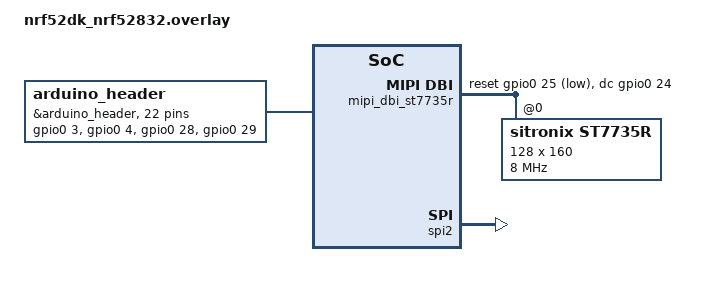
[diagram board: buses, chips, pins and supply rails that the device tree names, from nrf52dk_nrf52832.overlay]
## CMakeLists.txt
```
# SPDX-License-Identifier: Apache-2.0

cmake_minimum_required(VERSION 3.20.0)

find_package(Zephyr REQUIRED HINTS $ENV{ZEPHYR_BASE})
project(52832_driver)

target_sources(app PRIVATE src/main.c)
```

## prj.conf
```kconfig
CONFIG_LOG=y
CONFIG_CONSOLE=y
CONFIG_USE_SEGGER_RTT=y
CONFIG_LOG_BACKEND_RTT=y
CONFIG_RTT_CONSOLE=y
CONFIG_LOG_BACKEND_RTT_BUFFER=1
# Shell (required by CONFIG_I2C_SHELL)
CONFIG_SHELL=y
CONFIG_SHELL_BACKEND_RTT=y
CONFIG_SHELL_BACKEND_RTT_BUFFER=0
# I2C & sensor support
CONFIG_I2C=y
CONFIG_I2C_TARGET=y
CONFIG_I2C_SHELL=y
CONFIG_I2C_NRFX=y
# CONFIG_I2C_LOG_LEVEL_DBG=y
# CONFIG_I2C_DUMP_MESSAGES=y

# CONFIG_I2C_ALLOW_NO_STOP_TRANSACTIONS=y
CONFIG_SENSOR=y
CONFIG_MPU6050=y
CONFIG_MPU6050_TRIGGER_NONE=y
# 显示驱动（ST7735S 走 ST7735R 驱动）
CONFIG_SPI=y
CONFIG_DISPLAY=y
# CONFIG_DT_HAS_SITRONIX_ST7735R_ENABLED=y
CONFIG_ST7735R=y
CONFIG_MIPI_DBI=y
```

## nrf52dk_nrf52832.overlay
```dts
// To get started, press Ctrl+Space to bring up the completion menu and view the available nodes.

// You can also use the buttons in the sidebar to perform actions on nodes.
// Actions currently available include:

// * Enabling / disabling the node
// * Adding the bus to a bus
// * Removing the node
// * Connecting ADC channels

// For more help, browse the DeviceTree documentation at https://docs.zephyrproject.org/latest/guides/dts/index.html
// You can also visit the nRF DeviceTree extension documentation at https://docs.nordicsemi.com/bundle/nrf-connect-vscode/page/guides/ncs_configure_app.html#devicetree-support-in-the-extension
#if 0
&i2c0 {
	clock-frequency = <I2C_BITRATE_STANDARD>;

	mpu6050: mpu6050@68 {
		compatible = "invensense,mpu6050";
		reg = <0x68>;
		int-gpios = <&gpio0 26 GPIO_ACTIVE_HIGH>;
		accel-fs = <2>;
		gyro-fs = <250>;
		smplrt-div = <0>;

		zephyr,deferred-init;
	};
};
&i2c0_default {
	group1 {
		psels = <NRF_PSEL(TWIM_SCL, 0, 22)>, <NRF_PSEL(TWIM_SDA, 0, 23)>;
	};
};
&i2c0_sleep {
	group1 {
		psels = <NRF_PSEL(TWIM_SCL, 0, 22)>, <NRF_PSEL(TWIM_SDA, 0, 23)>;
		low-power-enable;
	};
};
#else
/delete-node/ &{/pin-controller/i2c0_sleep/group1/};
/delete-node/ &{/pin-controller/i2c0_default/group1/};
#endif

&spi2 {
	status = "okay";
	cs-gpios = <&gpio0 26 GPIO_ACTIVE_LOW>;
	pinctrl-0 = <&spi2_default>;
	pinctrl-1 = <&spi2_sleep>;
	pinctrl-names = "default", "sleep";
};

/ {
	chosen {
		zephyr,display = &st7735r;
	};

	mipi_dbi_st7735r {
		compatible = "zephyr,mipi-dbi-spi";
		spi-dev = <&spi2>;
		dc-gpios = <&gpio0 24 GPIO_ACTIVE_HIGH>;   /* 按实际接线修改 */
		reset-gpios = <&gpio0 25 GPIO_ACTIVE_LOW>; /* 按实际接线修改 */
		write-only;
		#address-cells = <1>;
		#size-cells = <0>;

		st7735r: st7735r@0 {
			compatible = "sitronix,st7735r";
			reg = <0>;
			status = "okay";
			mipi-max-frequency = <8000000>;
			mipi-mode = "MIPI_DBI_MODE_SPI_4WIRE";
			colmod = <0x55>; /* RGB565 */

			/* Required by binding */
			width = <128>;
			height = <160>;
			x-offset = <0>;
			y-offset = <0>;
			gamctrp1 = [0f 1a 0f 18 2f 28 20 22 1f 1b 23 37 00 07 02 10];
			gamctrn1 = [0f 1b 0f 17 33 2c 29 2e 30 30 39 3f 00 07 03 10];

			/* Explicitly define these to satisfy compile-time DT access */
			caset = [00 00 00 7f];
			raset = [00 00 00 9f];
		};
	};
};

&spi2_default {
	group1 {
		psels = <NRF_PSEL(SPIM_SCK, 0, 22)>, <NRF_PSEL(SPIM_MOSI, 0, 23)>;
	};
};

&spi2_sleep {
	group1 {
		psels = <NRF_PSEL(SPIM_SCK, 0, 22)>, <NRF_PSEL(SPIM_MOSI, 0, 23)>;
		low-power-enable;
	};
};

&arduino_adc {
	io-channel-map = <0 &adc 1>, <1 &adc 2>, <2 &adc 4>, <3 &adc 5>, <4 &adc 6>, <5 &adc 7>;
};

&arduino_header {
	gpio-map = <ARDUINO_HEADER_R3_A0 0 &gpio0 3 0>,
			   <ARDUINO_HEADER_R3_A1 0 &gpio0 4 0>,
			   <ARDUINO_HEADER_R3_A2 0 &gpio0 28 0>,
			   <ARDUINO_HEADER_R3_A3 0 &gpio0 29 0>,
			   <ARDUINO_HEADER_R3_A4 0 &gpio0 30 0>,
			   <ARDUINO_HEADER_R3_A5 0 &gpio0 31 0>,
			   <ARDUINO_HEADER_R3_D0 0 &gpio0 11 0>,
			   <ARDUINO_HEADER_R3_D1 0 &gpio0 12 0>,
			   <ARDUINO_HEADER_R3_D2 0 &gpio0 13 0>,
			   <ARDUINO_HEADER_R3_D3 0 &gpio0 14 0>,
			   <ARDUINO_HEADER_R3_D4 0 &gpio0 15 0>,
			   <ARDUINO_HEADER_R3_D5 0 &gpio0 16 0>,
			   <ARDUINO_HEADER_R3_D6 0 &gpio0 17 0>,
			   <ARDUINO_HEADER_R3_D7 0 &gpio0 18 0>,
			   <ARDUINO_HEADER_R3_D8 0 &gpio0 19 0>,
			   <ARDUINO_HEADER_R3_D9 0 &gpio0 20 0>,
			   <ARDUINO_HEADER_R3_D10 0 &gpio0 22 0>,
			   <ARDUINO_HEADER_R3_D11 0 &gpio0 23 0>,
			   <ARDUINO_HEADER_R3_D12 0 &gpio0 24 0>,
			   <ARDUINO_HEADER_R3_D13 0 &gpio0 25 0>,
			   <ARDUINO_HEADER_R3_D14 0 &gpio0 26 0>,
			   <ARDUINO_HEADER_R3_D15 0 &gpio0 27 0>;
};
```

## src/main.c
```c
#include <zephyr/kernel.h>
#include <zephyr/drivers/gpio.h>
#include <zephyr/logging/log.h>
#include <zephyr/drivers/uart.h>
#include <zephyr/drivers/i2c.h>
#include <zephyr/drivers/sensor.h>
#include <zephyr/device.h>
#include <zephyr/drivers/display.h>
#include <zephyr/sys/byteorder.h>
#include <errno.h>
#include <strings.h>
/* 定义日志模块 */
LOG_MODULE_REGISTER(main, LOG_LEVEL_INF);
/* 定义LED引脚 */
#define LED1	DT_NODELABEL(led0)
#define LED2	DT_NODELABEL(led1)
#define LED3	DT_NODELABEL(led2)
#define LED4	DT_NODELABEL(led3)
static struct  gpio_dt_spec LED1_struct=GPIO_DT_SPEC_GET(LED1, gpios);
static struct  gpio_dt_spec LED2_struct=GPIO_DT_SPEC_GET(LED2, gpios);
static struct  gpio_dt_spec LED3_struct=GPIO_DT_SPEC_GET(LED3, gpios);
static struct  gpio_dt_spec LED4_struct=GPIO_DT_SPEC_GET(LED4, gpios);
/* 定义按键引脚 */
#define botton1	DT_NODELABEL(button0)
#define botton2	DT_NODELABEL(button1)
#define botton3	DT_NODELABEL(button2)
#define botton4	DT_NODELABEL(button3)
static struct  gpio_dt_spec botton1_struct=GPIO_DT_SPEC_GET(botton1, gpios);
static struct  gpio_dt_spec botton2_struct=GPIO_DT_SPEC_GET(botton2, gpios);
static struct  gpio_dt_spec botton3_struct=GPIO_DT_SPEC_GET(botton3, gpios);
static struct  gpio_dt_spec botton4_struct=GPIO_DT_SPEC_GET(botton4, gpios);
static struct gpio_callback button_callback_struct;

#define LCD_NODE DT_NODELABEL(st7735r)

/* LCD 相关全局结构体，放在 main 之外 */
static const struct device *lcd_dev = DEVICE_DT_GET(LCD_NODE);
static struct display_capabilities lcd_caps;
static struct display_buffer_descriptor lcd_desc;
static uint8_t lcd_line_buf[240 * 2];
static size_t lcd_color_idx;

/* 简单 5x7 字符集，只实现常用字符：空格、0-9、A-Z */
#define LCD_CHAR_W 6
#define LCD_CHAR_H 8

static const uint8_t lcd_font5x7[][5] = {
	/* ' ' 0x20 */
	{ 0x00, 0x00, 0x00, 0x00, 0x00 },
	/* '0' 0x30 */
	{ 0x3E, 0x51, 0x49, 0x45, 0x3E },
	/* '1' */
	{ 0x00, 0x42, 0x7F, 0x40, 0x00 },
	/* '2' */
	{ 0x42, 0x61, 0x51, 0x49, 0x46 },
	/* '3' */
	{ 0x21, 0x41, 0x45, 0x4B, 0x31 },
	/* '4' */
	{ 0x18, 0x14, 0x12, 0x7F, 0x10 },
	/* '5' */
	{ 0x27, 0x45, 0x45, 0x45, 0x39 },
	/* '6' */
	{ 0x3C, 0x4A, 0x49, 0x49, 0x30 },
	/* '7' */
	{ 0x01, 0x71, 0x09, 0x05, 0x03 },
	/* '8' */
	{ 0x36, 0x49, 0x49, 0x49, 0x36 },
	/* '9' */
	{ 0x06, 0x49, 0x49, 0x29, 0x1E },
	/* 'A' 0x41 */
	{ 0x7E, 0x11, 0x11, 0x11, 0x7E },
	/* 'B' */
	{ 0x7F, 0x49, 0x49, 0x49, 0x36 },
	/* 'C' */
	{ 0x3E, 0x41, 0x41, 0x41, 0x22 },
	/* 'D' */
	{ 0x7F, 0x41, 0x41, 0x22, 0x1C },
	/* 'E' */
	{ 0x7F, 0x49, 0x49, 0x49, 0x41 },
	/* 'F' */
	{ 0x7F, 0x09, 0x09, 0x09, 0x01 },
	/* 'G' */
	{ 0x3E, 0x41, 0x49, 0x49, 0x7A },
	/* 'H' */
	{ 0x7F, 0x08, 0x08, 0x08, 0x7F },
	/* 'I' */
	{ 0x00, 0x41, 0x7F, 0x41, 0x00 },
	/* 'J' */
	{ 0x20, 0x40, 0x41, 0x3F, 0x01 },
	/* 'K' */
	{ 0x7F, 0x08, 0x14, 0x22, 0x41 },
	/* 'L' */
	{ 0x7F, 0x40, 0x40, 0x40, 0x40 },
	/* 'M' */
	{ 0x7F, 0x02, 0x0C, 0x02, 0x7F },
	/* 'N' */
	{ 0x7F, 0x04, 0x08, 0x10, 0x7F },
	/* 'O' */
	{ 0x3E, 0x41, 0x41, 0x41, 0x3E },
	/* 'P' */
	{ 0x7F, 0x09, 0x09, 0x09, 0x06 },
	/* 'Q' */
	{ 0x3E, 0x41, 0x51, 0x21, 0x5E },
	/* 'R' */
	{ 0x7F, 0x09, 0x19, 0x29, 0x46 },
	/* 'S' */
	{ 0x46, 0x49, 0x49, 0x49, 0x31 },
	/* 'T' */
	{ 0x01, 0x01, 0x7F, 0x01, 0x01 },
	/* 'U' */
	{ 0x3F, 0x40, 0x40, 0x40, 0x3F },
	/* 'V' */
	{ 0x1F, 0x20, 0x40, 0x20, 0x1F },
	/* 'W' */
	{ 0x7F, 0x20, 0x18, 0x20, 0x7F },
	/* 'X' */
	{ 0x63, 0x14, 0x08, 0x14, 0x63 },
	/* 'Y' */
	{ 0x03, 0x04, 0x78, 0x04, 0x03 },
	/* 'Z' */
	{ 0x61, 0x51, 0x49, 0x45, 0x43 },
};

static const uint16_t lcd_colors[] = {
	0xF800, /* red */
	0x07E0, /* green */
	0x001F, /* blue */
	0xFFFF, /* white */
	0x0000, /* black */
};

static int lcd_init(void)
{
	if (!device_is_ready(lcd_dev)) {
		LOG_ERR("LCD device not ready");
		return -ENODEV;
	}

	int ret = display_set_pixel_format(lcd_dev, PIXEL_FORMAT_RGB_565);
	if (ret != 0) {
		LOG_WRN("display_set_pixel_format failed (%d)", ret);
	}

	ret = display_blanking_off(lcd_dev);
	if (ret != 0) {
		LOG_WRN("display_blanking_off failed (%d)", ret);
	}

	display_get_capabilities(lcd_dev, &lcd_caps);

	const uint16_t w = lcd_caps.x_resolution;

	if (w == 0 || w > 240) {
		LOG_ERR("Unexpected LCD width %u", w);
		return -EINVAL;
	}

	lcd_desc.width = w;
	lcd_desc.height = 1;
	lcd_desc.pitch = w;
	lcd_desc.buf_size = (size_t)w * 2;

	lcd_color_idx = 0;

	return 0;
}

static int lcd_fill_color(uint16_t color)
{
	const uint16_t w = lcd_caps.x_resolution;
	const uint16_t h = lcd_caps.y_resolution;

	if (w == 0 || h == 0) {
		return -EINVAL;
	}

	for (uint16_t x = 0; x < w; x++) {
		sys_put_be16(color, &lcd_line_buf[x * 2]);
	}

	for (uint16_t y = 0; y < h; y++) {
		int ret = display_write(lcd_dev, 0, y, &lcd_desc, lcd_line_buf);
		if (ret != 0) {
			return ret;
		}
	}

	return 0;
}

static const uint8_t *lcd_get_glyph(char c)
{
	if (c == ' ') {
		return lcd_font5x7[0];
	}
	if (c >= '0' && c <= '9') {
		return lcd_font5x7[1 + (c - '0')];
	}
	if (c >= 'A' && c <= 'Z') {
		return lcd_font5x7[11 + (c - 'A')];
	}
	if (c >= 'a' && c <= 'z') {
		return lcd_font5x7[11 + (c - 'a')]; /* 小写按大写显示 */
	}
	return lcd_font5x7[0];
}

/* 在 LCD 上绘制单个字符，左上角坐标 (x, y)，前景色/背景色为 fg/bg */
static int lcd_draw_char(uint16_t x, uint16_t y, char c,
			 uint16_t fg, uint16_t bg)
{
	const uint16_t w = lcd_caps.x_resolution;
	const uint16_t h = lcd_caps.y_resolution;

	if (x + LCD_CHAR_W > w || y + LCD_CHAR_H > h) {
		return -EINVAL;
	}

	const uint8_t *glyph = lcd_get_glyph(c);
	uint8_t buf[LCD_CHAR_W * LCD_CHAR_H * 2];

	for (uint16_t row = 0; row < LCD_CHAR_H; row++) {
		for (uint16_t col = 0; col < 5; col++) {
			/* 字库按列存储，每列低位在上方 */
			uint8_t col_bits = glyph[col];
			bool on = (row < 7) && ((col_bits >> row) & 0x01);
			uint16_t color = on ? fg : bg;
			sys_put_be16(color,
				     &buf[2 * (row * LCD_CHAR_W + col)]);
		}
		/* 第 6 列做 1 像素间隔 */
		sys_put_be16(bg,
			     &buf[2 * (row * LCD_CHAR_W + 5)]);
	}

	struct display_buffer_descriptor desc = {
		.width = LCD_CHAR_W,
		.height = LCD_CHAR_H,
		.pitch = LCD_CHAR_W,
		.buf_size = sizeof(buf),
	};

	return display_write(lcd_dev, x, y, &desc, buf);
}

/* 在 LCD 上绘制字符串，单行显示 */
static int lcd_draw_string(uint16_t x, uint16_t y,
			   const char *s,
			   uint16_t fg, uint16_t bg)
{
	if (s == NULL) {
		return -EINVAL;
	}

	while (*s) {
		int ret = lcd_draw_char(x, y, *s, fg, bg);
		if (ret != 0) {
			return ret;
		}
		x += LCD_CHAR_W;
		s++;
	}

	return 0;
}

#if 0
/* MPU6050 设备句柄与 I2C 配置 */
#define MPU6050_NODE DT_NODELABEL(mpu6050)
#define MPU6050_REG_WHO_AM_I 0x75
#define MPU6050_CHIP_ID      0x68
#define MPU6050_REG_PWR_MGMT1 0x6B

static const struct device *mpu6050_dev = DEVICE_DT_GET(MPU6050_NODE);
static const struct i2c_dt_spec mpu6050_i2c = I2C_DT_SPEC_GET(MPU6050_NODE);
static int mpu6050_init_chip(void)
{
	int ret=0;
	uint8_t chip_id=0;

	if (!device_is_ready(mpu6050_i2c.bus))
	{
		LOG_ERR("MPU6050 I2C bus is not ready");
		return -EIO;
	}

	/* 读取芯片 ID */
	ret = i2c_reg_read_byte_dt(&mpu6050_i2c, MPU6050_REG_WHO_AM_I, &chip_id);
	if (ret != 0)
	{
		LOG_ERR("Failed to read MPU6050 WHO_AM_I (err %d)", ret);
		return ret;
	}
	LOG_INF("MPU6050 WHO_AM_I=0x%02x", chip_id);
	if (chip_id != MPU6050_CHIP_ID)
	{
		LOG_ERR("Unexpected MPU6050 chip ID: 0x%02x (expected 0x%02x)", chip_id, MPU6050_CHIP_ID);
		return -EIO;
	}

	LOG_INF("MPU6050 WHO_AM_I=0x%02x", chip_id);

	/* 退出休眠模式，使用内部时钟 */
	ret = i2c_reg_write_byte_dt(&mpu6050_i2c, MPU6050_REG_PWR_MGMT1, 0x00);
	if (ret != 0)
	{
		LOG_ERR("Failed to write PWR_MGMT1 (err %d)", ret);
		return ret;
	}

	return 0;
}
//mpu6050数据读取
void mpu6050_data_read(void)
{
	int ret=0;
	struct sensor_value accel[3];
	struct sensor_value gyro[3];
	ret = sensor_sample_fetch(mpu6050_dev);
	if (ret != 0)
	{
		LOG_ERR("MPU6050 sample fetch failed (%d)", ret);
		return;
	}
	ret = sensor_channel_get(mpu6050_dev, SENSOR_CHAN_ACCEL_XYZ, accel);
	if (ret != 0)
	{
		LOG_ERR("MPU6050 accel channel get failed (%d)", ret);
		return;
	}
	ret = sensor_channel_get(mpu6050_dev, SENSOR_CHAN_GYRO_XYZ, gyro);
	if (ret != 0)
	{
		LOG_ERR("MPU6050 gyro channel get failed (%d)", ret);
		return;
	}
	LOG_INF("Accel x=%d.%06d y=%d.%06d z=%d.%06d",
		accel[0].val1, accel[0].val2,
		accel[1].val1, accel[1].val2,
		accel[2].val1, accel[2].val2);
	LOG_INF("Gyro  x=%d.%06d y=%d.%06d z=%d.%06d",
		gyro[0].val1, gyro[0].val2,
		gyro[1].val1, gyro[1].val2,
		gyro[2].val1, gyro[2].val2);
}
/* 扫描 I2C0 总线上所有 7bit 地址 */
static void i2c0_scan(void)
{
	int ret;
	struct i2c_msg msg;
	uint8_t addr;
	uint8_t dummy=0x00;
	msg.buf = &dummy;
	msg.len = 1;
	msg.flags = I2C_MSG_WRITE | I2C_MSG_STOP;
	if (!device_is_ready(mpu6050_i2c.bus))
	{
		LOG_ERR("I2C0 bus device is not ready");
		return;
	}

	LOG_INF("Start I2C0 bus scan");

	for (addr = 0x03; addr < 0x7f; addr++)
	{
		//ret = i2c_read(mpu6050_i2c.bus, &dummy, 1, addr);
		 ret = i2c_transfer(mpu6050_i2c.bus, &msg, 1, addr);
		if (ret == 0)
		{
			LOG_INF("I2C device found at 0x%02x", addr);
		}
	}

	LOG_INF("I2C0 bus scan done");
}
#endif

/* 按键回调函数 */
void gpio_callback(const struct device *port,struct gpio_callback *cb,gpio_port_pins_t pins)
{
        if(pins==BIT(botton1_struct.pin))
        {
                LOG_DBG("Button pressed");
                gpio_pin_toggle_dt(&LED1_struct);
        }
        if(pins==BIT(botton2_struct.pin))
        {
                LOG_DBG("Button pressed");
                gpio_pin_toggle_dt(&LED2_struct);
        }
        if(pins==BIT(botton3_struct.pin))
        {
                LOG_DBG("Button pressed");
                gpio_pin_toggle_dt(&LED3_struct);
        }
        if(pins==BIT(botton4_struct.pin))
        {
                LOG_DBG("Button pressed");
                gpio_pin_toggle_dt(&LED4_struct);
        }
}

/* 主函数 */
int main(void)
{
	int ret=0;
	LOG_INF("Hello World! %s\n", CONFIG_BOARD_TARGET);
	uint16_t color = lcd_colors[lcd_color_idx];
	char msg[16];
	ret = lcd_init();
	if (ret != 0) {
		LOG_ERR("LCD init failed (%d)", ret);
	}

	/* 检查 MPU6050 设备是否就绪并初始化芯片 */
	// device_init(mpu6050_dev);
	// i2c0_scan();
	// ret = mpu6050_init_chip();
	// if (ret != 0)
	// {
	// 	LOG_ERR("MPU6050 init failed (%d)", ret);
	// }
	// if (!device_is_ready(mpu6050_dev))
	// {
	// 	LOG_ERR("MPU6050 device is not ready");
	// }
	if (ret != 0)
	{
		LOG_ERR("MPU6050 init failed (%d)", ret);
	}
	if (gpio_is_ready_dt(&LED1_struct)==false)
	{
		LOG_ERR("LED1 is not ready");
	}
	if (gpio_is_ready_dt(&LED2_struct)==false)
	{
		LOG_ERR("LED2 is not ready");
	}
	if (gpio_is_ready_dt(&LED3_struct)==false)
	{
		LOG_ERR("LED3 is not ready");	
	}
	if (gpio_is_ready_dt(&LED4_struct)==false)
	{
		LOG_ERR("LED4 is not ready");
	}
	if (gpio_is_ready_dt(&botton1_struct)==false)
	{
		LOG_ERR("botton1 is not ready");
	}
	if (gpio_is_ready_dt(&botton2_struct)==false)
	{
		LOG_ERR("botton2 is not ready");
	}
	if (gpio_is_ready_dt(&botton3_struct)==false)
	{
		LOG_ERR("botton3 is not ready");
	}
	if (gpio_is_ready_dt(&botton4_struct)==false)
	{
		LOG_ERR("botton4 is not ready");
	}
	//配置LED引脚为输出
	gpio_pin_configure_dt(&LED1_struct, GPIO_OUTPUT_ACTIVE);
	gpio_pin_configure_dt(&LED2_struct, GPIO_OUTPUT_ACTIVE);
	gpio_pin_configure_dt(&LED3_struct, GPIO_OUTPUT_ACTIVE);
	gpio_pin_configure_dt(&LED4_struct, GPIO_OUTPUT_ACTIVE);
	//配置按键引脚为输入
	gpio_pin_configure_dt(&botton1_struct, GPIO_INPUT);
	gpio_pin_configure_dt(&botton2_struct, GPIO_INPUT);
	gpio_pin_configure_dt(&botton3_struct, GPIO_INPUT);
	gpio_pin_configure_dt(&botton4_struct, GPIO_INPUT);
	//初始化按键回调函数
	ret=gpio_pin_interrupt_configure_dt(&botton1_struct, GPIO_INT_EDGE_TO_ACTIVE);
	if (ret!=0)
	{
		LOG_ERR("Failed to configure botton1");
	}
	ret=gpio_pin_interrupt_configure_dt(&botton2_struct, GPIO_INT_EDGE_TO_ACTIVE);
	if (ret!=0)
	{
		LOG_ERR("Failed to configure botton2");
	}
	ret=gpio_pin_interrupt_configure_dt(&botton3_struct, GPIO_INT_EDGE_TO_ACTIVE);
	if (ret!=0)
	{
		LOG_ERR("Failed to configure botton3");
	}
	ret=gpio_pin_interrupt_configure_dt(&botton4_struct, GPIO_INT_EDGE_TO_ACTIVE);
	if (ret!=0)
	{
		LOG_ERR("Failed to configure botton4");
	}
	gpio_init_callback(&button_callback_struct, gpio_callback, BIT(botton1_struct.pin) | BIT(botton2_struct.pin) | BIT(botton3_struct.pin) | BIT(botton4_struct.pin));
	ret=gpio_add_callback_dt(&botton1_struct, &button_callback_struct);
	if (ret!=0)
	{
		LOG_ERR("Failed to add callback to botton1");
	}
	ret=gpio_add_callback_dt(&botton2_struct, &button_callback_struct);
	if (ret!=0)
	{
		LOG_ERR("Failed to add callback to botton2");
	}
	ret=gpio_add_callback_dt(&botton3_struct, &button_callback_struct);
	if (ret!=0)
	{
		LOG_ERR("Failed to add callback to botton3");
	}
	ret=gpio_add_callback_dt(&botton4_struct, &button_callback_struct);
	if (ret!=0)
	{
		LOG_ERR("Failed to add callback to botton4");
	}

	while (1) 
	{
		lcd_color_idx = (lcd_color_idx + 1) % ARRAY_SIZE(lcd_colors);
		color = lcd_colors[lcd_color_idx];

		/* 刷整屏颜色 */
		lcd_fill_color(color);

		/* 在左上角显示当前颜色索引字符串 */
		snprintk(msg, sizeof(msg), "COLOR %u",
			 (unsigned)lcd_color_idx);
		lcd_draw_string(0, 0, msg, 0xFFFF, 0x0000);

		k_sleep(K_MSEC(500));
	}
	return 0;
}
```
